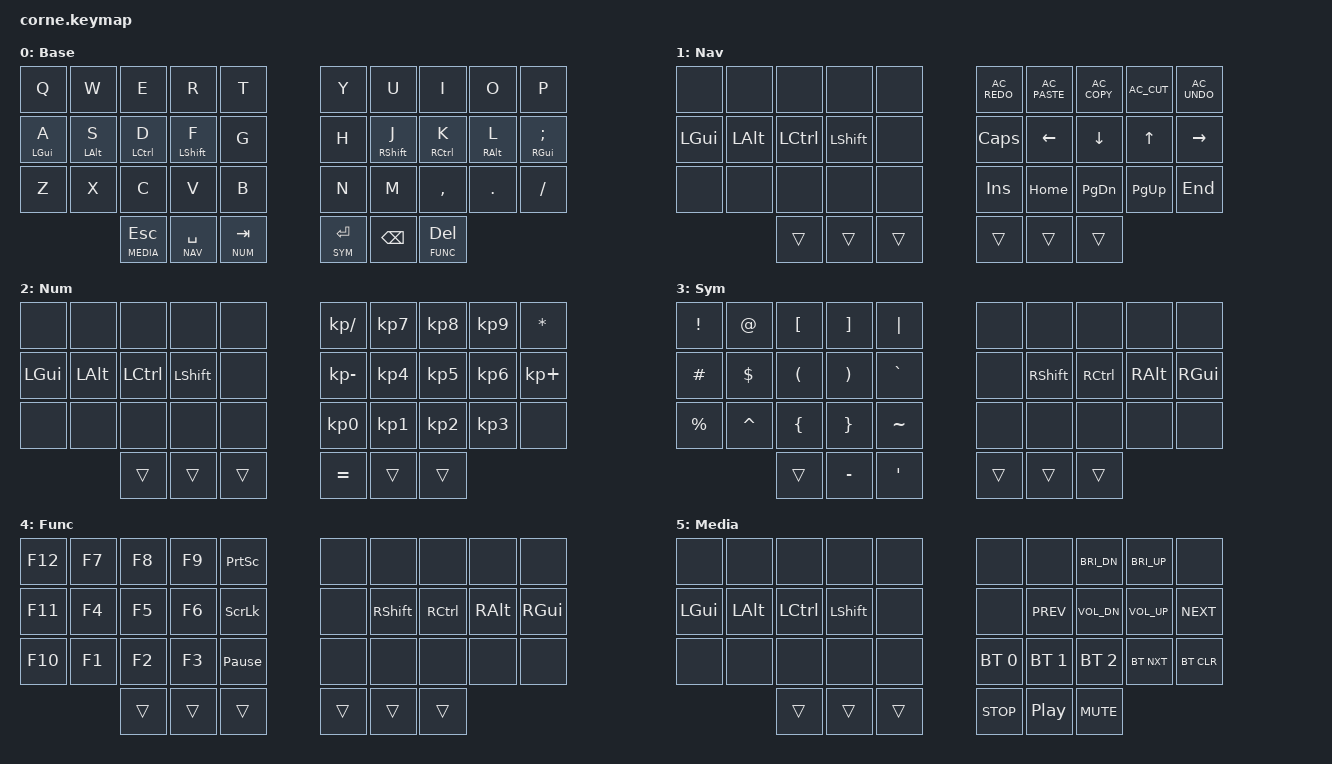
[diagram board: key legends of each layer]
/*
 * Copyright (c) 2020 The ZMK Contributors
 *
 * SPDX-License-Identifier: MIT
 */

#include <dt-bindings/zmk/keys.h>
#include <dt-bindings/zmk/bt.h>
#include <dt-bindings/zmk/ext_power.h>
#include <behaviors.dtsi>

// LAYERS
#define DEFAULT 0
#define NAV     1
#define NUM     2
#define SYM     3
#define FUNC    4
#define MEDIA   5

// MACROS
#define SUPER  LC(LSHIFT)
#define SUPER2 LA(LC(LSHIFT))

/ {
  chosen {
    zmk,physical-layout = &foostan_corne_5col_layout;
  };
  
  behaviors {
      hm: homerow_mods {
          compatible = "zmk,behavior-hold-tap";
          label = "HOMEROW_MODS";
          #binding-cells = <2>;
          tapping-term-ms = <200>;
          quick-tap-ms = <0>;
          flavor = "tap-preferred";
          bindings = <&kp>, <&kp>;
      };
  };

  keymap {
    compatible = "zmk,keymap";

    default_layer {
      display-name = "Base";
      bindings = <
        &kp Q   &kp W   &kp E   &kp R   &kp T   /**/    &kp Y   &kp U   &kp I   &kp O   &kp P
        &hm LGUI A &hm LALT S &hm LCTRL D &hm LSHIFT F &kp G  /**/  &kp H &hm RSHIFT J &hm RCTRL K &hm RALT L &hm RGUI SEMICOLON
        &kp Z   &kp X   &kp C   &kp V   &kp B   /**/    &kp N   &kp M   &kp COMMA   &kp DOT   &kp SLASH
        &lt MEDIA ESC   &lt NAV SPACE   &lt NUM TAB   /**/    &lt SYM RET   &kp BSPC   &lt FUNC DEL
      >;
    };

    nav_layer {
      display-name = "Nav";
      bindings = <
        &none   &none   &none   &none   &none   /**/    &kp C_AC_REDO   &kp C_AC_PASTE    &kp C_AC_COPY    &kp C_AC_CUT    &kp C_AC_UNDO
        &kp LGUI    &kp LALT    &kp LCTRL   &kp LSHIFT    &none   /**/    &kp CAPS    &kp LEFT    &kp DOWN    &kp UP    &kp RIGHT
        &none   &none   &none   &none   &none   /**/    &kp INS   &kp HOME    &kp PAGE_DOWN   &kp PAGE_UP   &kp END
                          &trans   &trans   &trans   /**/    &trans   &trans   &trans
      >;
    };

    num_layer {
      display-name = "Num";
      bindings = <
        &none   &none   &none   &none   &none   /**/    &kp KP_DIVIDE    &kp KP_N7    &kp KP_N8   &kp KP_N9   &kp ASTERISK
        &kp LGUI    &kp LALT    &kp LCTRL   &kp LSHIFT    &none   /**/    &kp KP_MINUS    &kp KP_N4    &kp KP_N5   &kp KP_N6   &kp KP_PLUS
        &none   &none   &none   &none   &none   /**/    &kp KP_N0    &kp KP_N1    &kp KP_N2   &kp KP_N3   &none
                                    &trans   &trans   &trans   /**/    &kp EQUAL    &trans   &trans
      >;
    };

    sym_layer {
      display-name = "Sym";
      bindings = <
        &kp EXCL    &kp AT    &kp LBKT    &kp RBKT   &kp PIPE   /**/    &none    &none   &none   &none   &none
        &kp HASH    &kp DLLR   &kp LPAR    &kp RPAR    &kp GRAVE   /**/    &none    &kp RSHIFT   &kp RCTRL   &kp RALT    &kp RGUI
        &kp PRCNT   &kp CARET    &kp LBRC   &kp RBRC   &kp TILDE    /**/    &none    &none   &none   &none   &none
                                &trans   &kp MINUS   &kp SQT    /**/    &trans    &trans   &trans
      >;
    };

    func_layer {
      display-name = "Func";
      bindings = <
        &kp F12   &kp F7    &kp F8    &kp F9    &kp PSCRN   /**/  &none    &none   &none   &none   &none
        &kp F11   &kp F4    &kp F5    &kp F6    &kp SLCK    /**/  &none    &kp RSHIFT   &kp RCTRL   &kp RALT    &kp RGUI
        &kp F10   &kp F1    &kp F2    &kp F3    &kp PAUSE_BREAK   /**/  &none    &none   &none   &none   &none
                                &trans   &trans   &trans   /**/    &trans    &trans   &trans
      >;
    };

    media_layer {
      display-name = "Media";
      bindings = <
        &none   &none   &none   &none   &none   /**/    &none   &none   &kp C_BRI_DN   &kp C_BRI_UP   &none
        &kp LGUI    &kp LALT    &kp LCTRL   &kp LSHIFT    &none   /**/    &none    &kp C_PREV   &kp C_VOL_DN    &kp C_VOL_UP    &kp C_NEXT
        &none   &none   &none   &none   &none   /**/    &bt BT_SEL 0    &bt BT_SEL 1    &bt BT_SEL 2   &bt BT_NXT   &bt BT_CLR
                              &trans   &trans   &trans    /**/    &kp C_STOP    &kp C_PP   &kp C_MUTE
      >;
    };
  };
};
